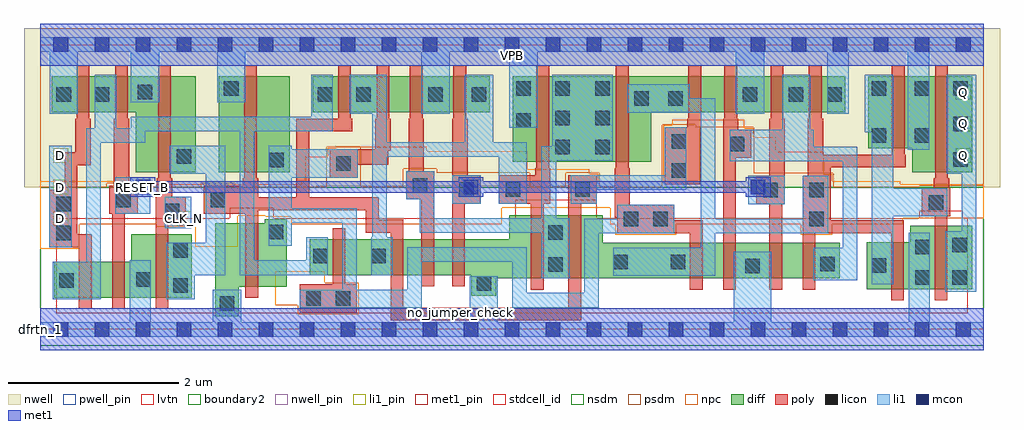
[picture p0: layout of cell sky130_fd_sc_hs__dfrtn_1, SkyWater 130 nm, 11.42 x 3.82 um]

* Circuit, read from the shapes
.subckt sky130_fd_sc_hs__dfrtn_1 CLK_N D Q RESET_B VGND VNB VPB VPWR
XM1 n1 D n2 VNB sky130_fd_pr__nfet_01v8_lvt w=0.42 l=0.15
XM2 VGND RESET_B n1 VNB sky130_fd_pr__nfet_01v8_lvt w=0.42 l=0.15
XM3 n3 CLK_N VGND VNB sky130_fd_pr__nfet_01v8_lvt w=0.74 l=0.15
XM4 n4 n3 VGND VNB sky130_fd_pr__nfet_01v8_lvt w=0.74 l=0.15
XM5 n5 n4 n2 VNB sky130_fd_pr__nfet_01v8_lvt w=0.42 l=0.15
XM6 n6 n3 n5 VNB sky130_fd_pr__nfet_01v8_lvt w=0.42 l=0.15
XM7 n7 n8 n6 VNB sky130_fd_pr__nfet_01v8_lvt w=0.42 l=0.15
XM8 VGND RESET_B n7 VNB sky130_fd_pr__nfet_01v8_lvt w=0.42 l=0.15
XM9 n8 n5 VGND VNB sky130_fd_pr__nfet_01v8_lvt w=0.74 l=0.15
XM10 n9 n3 n8 VNB sky130_fd_pr__nfet_01v8_lvt w=0.74 l=0.15
XM11 n10 n4 n9 VNB sky130_fd_pr__nfet_01v8_lvt w=0.42 l=0.15
XM12 VGND n11 n10 VNB sky130_fd_pr__nfet_01v8_lvt w=0.42 l=0.15
XM13 n12 RESET_B VGND VNB sky130_fd_pr__nfet_01v8_lvt w=0.42 l=0.15
XM14 n11 n9 n12 VNB sky130_fd_pr__nfet_01v8_lvt w=0.42 l=0.15
XM15 VGND n9 n13 VNB sky130_fd_pr__nfet_01v8_lvt w=0.55 l=0.15
XM16 Q n13 VGND VNB sky130_fd_pr__nfet_01v8_lvt w=0.74 l=0.15
XM17 n2 D VPWR VPB sky130_fd_pr__pfet_01v8 w=0.42 l=0.15
XM18 VPWR RESET_B n2 VPB sky130_fd_pr__pfet_01v8 w=0.42 l=0.15
XM19 n3 CLK_N VPWR VPB sky130_fd_pr__pfet_01v8 w=1.12 l=0.15
XM20 n4 n3 VPWR VPB sky130_fd_pr__pfet_01v8 w=1.12 l=0.15
XM21 n5 n3 n2 VPB sky130_fd_pr__pfet_01v8 w=0.42 l=0.15
XM22 n14 n4 n5 VPB sky130_fd_pr__pfet_01v8 w=0.42 l=0.15
XM23 VPWR n8 n14 VPB sky130_fd_pr__pfet_01v8 w=0.42 l=0.15
XM24 n5 RESET_B VPWR VPB sky130_fd_pr__pfet_01v8 w=0.42 l=0.15
XM25 n8 n5 VPWR VPB sky130_fd_pr__pfet_01v8 w=1 l=0.15
XM26 n9 n4 n8 VPB sky130_fd_pr__pfet_01v8 w=1 l=0.15
XM27 n15 n3 n9 VPB sky130_fd_pr__pfet_01v8 w=0.42 l=0.15
XM28 VPWR n11 n15 VPB sky130_fd_pr__pfet_01v8 w=0.42 l=0.15
XM29 n11 RESET_B VPWR VPB sky130_fd_pr__pfet_01v8 w=0.42 l=0.15
XM30 VPWR n9 n11 VPB sky130_fd_pr__pfet_01v8 w=0.42 l=0.15
XM31 VPWR n9 n13 VPB sky130_fd_pr__pfet_01v8 w=0.84 l=0.15
XM32 Q n13 VPWR VPB sky130_fd_pr__pfet_01v8 w=1.12 l=0.15
.ends

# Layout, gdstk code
import gdstk
lib = gdstk.Library(unit=1e-6, precision=1e-09)
def R(c, l, rs):  # rectangles x0, y0, x1, y1
    for r in rs: c.add(gdstk.rectangle(r[:2], r[2:], *l))
def A(c, l, x, y, w, h, nx, ny, dx, dy):  # array of equal rectangles
    R(c, l, [(x+i*dx, y+j*dy, x+i*dx+w, y+j*dy+h) for i in range(nx) for j in range(ny)])
def P(c, l, *ps):  # polygons
    for p in ps: c.add(gdstk.Polygon(p, *l))
nwell_pin = (64, 16)
nwell = (64, 20)
diff = (65, 20)
poly = (66, 20)
licon = (66, 44)
li1_pin = (67, 16)
li1 = (67, 20)
mcon = (67, 44)
met1_pin = (68, 16)
met1 = (68, 20)
stdcell_id = (81, 4)
nsdm = (93, 44)
psdm = (94, 20)
npc = (95, 20)
pwell_pin = (122, 16)
lvtn = (125, 44)
boundary2 = (236, 0)

sky130_fd_sc_hs__dfrtn_1 = lib.new_cell('sky130_fd_sc_hs__dfrtn_1')
R(sky130_fd_sc_hs__dfrtn_1, nwell_pin, [(0,3.085,11.04,3.33)])
P(sky130_fd_sc_hs__dfrtn_1, nwell, [(11.23,3.52),(-0.19,3.52),(-0.19,1.66),(3.225,1.66),(3.225,1.675),(6.92,1.675),(6.92,1.66),(11.23,1.66)])
R(sky130_fd_sc_hs__dfrtn_1, diff, [(2.09,1.84,2.92,2.96), (3.19,2.54,5.26,2.96)])
P(sky130_fd_sc_hs__dfrtn_1, diff, [(1.775,1.11),(1.065,1.11),(1.065,0.79),(0.165,0.79),(0.165,0.37),(1.775,0.37)],
  [(1.82,2.96),(0.135,2.96),(0.135,2.54),(1.115,2.54),(1.115,1.84),(1.82,1.84)],
  [(2.885,1.285),(2.625,1.285),(2.625,1.24),(2.045,1.24),(2.045,0.155),(2.325,0.155),(2.325,0.5),(2.885,0.5)],
  [(9.355,1.015),(6.58,1.015),(6.58,1.335),(5.49,1.335),(5.49,1.055),(3.155,1.055),(3.155,0.635),(5.045,0.635),(5.045,0.39),(5.335,0.39),(5.335,0.595),(9.355,0.595)],
  [(9.42,2.96),(5.53,2.96),(5.53,1.96),(7.15,1.96),(7.15,2.54),(9.42,2.54)],
  [(10.905,2.96),(9.69,2.96),(9.69,2.12),(10.205,2.12),(10.205,1.84),(10.905,1.84)],
  [(10.905,1.21),(10.18,1.21),(10.18,1.02),(9.67,1.02),(9.67,0.47),(10.905,0.47)])
P(sky130_fd_sc_hs__dfrtn_1, poly, [(10.645,1.65),(10.635,1.65),(10.635,1.765),(10.62,1.765),(10.62,3.09),(10.47,3.09),(10.47,1.765),(10.455,1.765),(10.455,1.65),(10.315,1.65),(10.315,1.32),(10.465,1.32),(10.465,0.34),(10.615,0.34),(10.615,1.32),(10.645,1.32)],
  [(10.13,2.045),(10.115,2.045),(10.115,3.09),(9.965,3.09),(9.965,2.045),(9.16,2.045),(9.16,2.465),(9.145,2.465),(9.145,3.09),(8.995,3.09),(8.995,2.465),(8.98,2.465),(8.98,1.795),(8.92,1.795),(8.92,0.465),(9.07,0.465),(9.07,1.125),(9.955,1.125),(9.955,0.34),(10.105,0.34),(10.105,1.275),(9.25,1.275),(9.25,1.895),(10.13,1.895)],
  [(8.71,2.465),(8.695,2.465),(8.695,3.09),(8.545,3.09),(8.545,2.465),(8.53,2.465),(8.53,1.795),(8.38,1.795),(8.38,1.465),(8.53,1.465),(8.53,0.465),(8.68,0.465),(8.68,1.465),(8.71,1.465)],
  [(8.32,2.335),(8.17,2.335),(8.17,2.465),(8.155,2.465),(8.155,3.09),(8.005,3.09),(8.005,2.465),(7.99,2.465),(7.99,0.465),(8.14,0.465),(8.14,2.005),(8.32,2.005)],
  [(7.75,1.275),(7.42,1.275),(7.42,1.455),(6.9,1.455),(6.9,1.885),(6.885,1.885),(6.885,3.09),(6.735,3.09),(6.735,1.885),(6.72,1.885),(6.72,1.305),(6.75,1.305),(6.75,1.125),(7.6,1.125),(7.6,0.465),(7.75,0.465)],
  [(7.735,3.09),(7.585,3.09),(7.585,2.465),(7.57,2.465),(7.57,2.365),(7.31,2.365),(7.31,1.695),(7.72,1.695),(7.72,2.365),(7.735,2.365)],
  [(6.51,1.8),(6.18,1.8),(6.18,0.255),(4.25,0.255),(4.25,1.28),(3.96,1.28),(3.96,1.545),(3.145,1.545),(3.145,2.315),(3.65,2.315),(3.65,2.465),(3.635,2.465),(3.635,3.09),(3.485,3.09),(3.485,2.465),(2.995,2.465),(2.995,1.545),(2.55,1.545),(2.55,1.765),(2.535,1.765),(2.535,3.09),(2.385,3.09),(2.385,1.765),(2.37,1.765),(2.37,1.68),(1.915,1.68),(1.915,1.35),(2.4,1.35),(2.4,0.37),(2.55,0.37),(2.55,1.395),(3.81,1.395),(3.81,1.13),(4.1,1.13),(4.1,0.105),(6.33,0.105),(6.33,1.47),(6.51,1.47)],
  [(5.97,1.885),(5.955,1.885),(5.955,3.09),(5.805,3.09),(5.805,1.885),(5.79,1.885),(5.79,1.8),(5.365,1.8),(5.365,1.47),(5.74,1.47),(5.74,0.465),(5.89,0.465),(5.89,1.47),(5.97,1.47)],
  [(5.15,1.8),(5,1.8),(5,2.465),(4.985,2.465),(4.985,3.09),(4.835,3.09),(4.835,2.465),(4.82,2.465),(4.82,0.505),(4.97,0.505),(4.97,1.47),(5.15,1.47)],
  [(4.61,1.85),(4.49,1.85),(4.49,2.465),(4.475,2.465),(4.475,3.09),(4.325,3.09),(4.325,2.465),(4.31,2.465),(4.31,1.85),(4.28,1.85),(4.28,1.52),(4.46,1.52),(4.46,0.505),(4.61,0.505)],
  [(4.1,2.465),(4.085,2.465),(4.085,3.09),(3.935,3.09),(3.935,2.465),(3.92,2.465),(3.92,2.105),(3.385,2.105),(3.385,1.775),(3.715,1.775),(3.715,1.925),(4.07,1.925),(4.07,2.09),(4.1,2.09)],
  [(3.705,0.525),(3.57,0.525),(3.57,1.185),(3.42,1.185),(3.42,0.525),(3.035,0.525),(3.035,0.195),(3.705,0.195)],
  [(1.705,1.55),(1.545,1.55),(1.545,1.765),(1.53,1.765),(1.53,3.09),(1.38,3.09),(1.38,1.765),(1.365,1.765),(1.365,1.55),(1.35,1.55),(1.35,0.24),(1.5,0.24),(1.5,1.22),(1.705,1.22)],
  [(1.14,1.68),(1.04,1.68),(1.04,2.465),(1.025,2.465),(1.025,3.09),(0.875,3.09),(0.875,2.465),(0.86,2.465),(0.86,1.68),(0.81,1.68),(0.81,1.35),(0.84,1.35),(0.84,0.24),(0.99,0.24),(0.99,1.35),(1.14,1.35)],
  [(0.6,1.11),(0.435,1.11),(0.435,1.92),(0.59,1.92),(0.59,2.465),(0.575,2.465),(0.575,3.09),(0.425,3.09),(0.425,2.465),(0.41,2.465),(0.41,2.07),(0.285,2.07),(0.285,1.63),(0.105,1.63),(0.105,0.96),(0.45,0.96),(0.45,0.24),(0.6,0.24)])
A(sky130_fd_sc_hs__dfrtn_1, licon, 10.685, 1.9, 0.17, 0.17, 1, 3, 0, 0.415)
A(sky130_fd_sc_hs__dfrtn_1, licon, 6.025, 2.05, 0.17, 0.17, 1, 3, 0, 0.34)
A(sky130_fd_sc_hs__dfrtn_1, licon, 6.495, 2.05, 0.17, 0.17, 1, 3, 0, 0.34)
R(sky130_fd_sc_hs__dfrtn_1, licon, [(2.1,0.215,2.27,0.385), (3.115,0.275,3.285,0.445), (3.455,0.275,3.625,0.445), (1.555,0.43,1.725,0.6), (5.105,0.45,5.275,0.62), (0.225,0.485,0.395,0.655), (1.125,0.495,1.295,0.665), (10.24,0.52,10.41,0.69), (10.67,0.52,10.84,0.69), (8.25,0.655,8.42,0.825), (9.73,0.66,9.9,0.83), (5.945,0.675,6.115,0.845), (9.125,0.68,9.295,0.85), (6.705,0.705,6.875,0.875), (7.375,0.705,7.545,0.875), (3.195,0.77,3.365,0.94), (3.875,0.77,4.045,0.94), (1.555,0.84,1.725,1.01), (10.24,0.88,10.41,1.05), (10.67,0.9,10.84,1.07), (0.185,1.04,0.355,1.21), (5.945,1.05,6.115,1.22), (2.675,1.055,2.845,1.225), (6.83,1.205,7,1.375), (7.17,1.205,7.34,1.375), (9,1.205,9.17,1.375), (1.455,1.3,1.625,1.47), (0.185,1.38,0.355,1.55), (10.395,1.4,10.565,1.57), (0.89,1.43,1.06,1.6), (1.995,1.43,2.165,1.6), (8.46,1.545,8.63,1.715), (9,1.545,9.17,1.715), (4.9,1.55,5.07,1.72), (5.445,1.55,5.615,1.72), (6.26,1.55,6.43,1.72), (4.36,1.6,4.53,1.77), (7.39,1.775,7.56,1.945), (3.465,1.855,3.635,2.025), (2.68,1.895,2.85,2.065), (1.595,1.935,1.765,2.105), (8.07,2.085,8.24,2.255), (7.39,2.115,7.56,2.285), (10.23,2.18,10.4,2.35), (9.73,2.185,9.9,2.355), (5.57,2.36,5.74,2.53), (6.95,2.615,7.12,2.785), (7.35,2.615,7.52,2.785), (0.19,2.665,0.36,2.835), (0.64,2.665,0.81,2.835), (3.25,2.665,3.42,2.835), (3.7,2.665,3.87,2.835), (4.54,2.665,4.71,2.835), (5.05,2.665,5.22,2.835), (8.22,2.665,8.39,2.835), (8.76,2.665,8.93,2.835), (9.21,2.665,9.38,2.835), (1.14,2.69,1.31,2.86), (5.57,2.73,5.74,2.9), (9.73,2.73,9.9,2.9), (10.23,2.73,10.4,2.9), (2.15,2.735,2.32,2.905)])
A(sky130_fd_sc_hs__dfrtn_1, li1_pin, 0.155, 1.21, 0.17, 0.17, 1, 3, 0, 0.37)
A(sky130_fd_sc_hs__dfrtn_1, li1_pin, 10.715, 1.95, 0.17, 0.17, 1, 3, 0, 0.37)
R(sky130_fd_sc_hs__dfrtn_1, li1_pin, [(1.595,1.21,1.765,1.38)])
R(sky130_fd_sc_hs__dfrtn_1, li1, [(0.105,0.96,0.37,2.15), (1.455,1.18,1.765,1.55), (0.88,1.35,1.285,1.78), (8.285,1.465,8.71,1.795), (4.82,1.47,5.155,1.8)])
P(sky130_fd_sc_hs__dfrtn_1, li1, [(0,-0.085),(0,0.085),(1.045,0.085),(1.045,0.81),(1.295,0.81),(1.295,0.085),(2.02,0.085),(2.02,0.465),(2.35,0.465),(2.35,0.085),(5.025,0.085),(5.025,0.62),(5.355,0.62),(5.355,0.085),(8.115,0.085),(8.115,0.905),(8.555,0.905),(8.555,0.085),(10.16,0.085),(10.16,1.13),(10.41,1.13),(10.41,0.085),(11.04,0.085),(11.04,-0.085)],
  [(0,3.245),(0,3.415),(11.04,3.415),(11.04,3.245),(10.4,3.245),(10.4,2.1),(10.15,2.1),(10.15,3.245),(9.46,3.245),(9.46,2.52),(9.21,2.52),(9.21,3.245),(8.47,3.245),(8.47,2.52),(8.14,2.52),(8.14,3.245),(5.82,3.245),(5.82,2.36),(5.49,2.36),(5.49,3.245),(4.79,3.245),(4.79,2.52),(4.46,2.52),(4.46,3.245),(2.4,3.245),(2.4,2.655),(2.07,2.655),(2.07,3.245),(1.39,3.245),(1.39,2.655),(1.06,2.655),(1.06,3.245),(0.44,3.245),(0.44,2.52),(0.11,2.52),(0.11,3.245)],
  [(10.605,1.82),(10.605,2.98),(10.955,2.98),(10.955,0.44),(10.59,0.44),(10.59,1.15),(10.785,1.15),(10.785,1.82)],
  [(9.98,1.65),(10.615,1.65),(10.615,1.32),(9.98,1.32),(9.98,0.53),(9.73,0.53),(9.73,2.305),(9.65,2.305),(9.65,2.98),(9.98,2.98)],
  [(4.97,2.19),(4.97,2.98),(5.3,2.98),(5.3,2.19),(5.695,2.19),(5.695,1.47),(5.365,1.47),(5.365,2.02),(4.055,2.02),(4.055,1.075),(4.125,1.075),(4.125,0.635),(3.875,0.635),(3.875,1.075),(3.885,1.075),(3.885,2.52),(3.62,2.52),(3.62,2.98),(4.055,2.98),(4.055,2.19)],
  [(0.64,2.35),(0.64,2.98),(0.89,2.98),(0.89,2.35),(1.06,2.35),(1.06,2.485),(3.17,2.485),(3.17,2.98),(3.42,2.98),(3.42,2.315),(2.505,2.315),(2.505,0.805),(3.115,0.805),(3.115,1.075),(3.365,1.075),(3.365,0.635),(2.335,0.635),(2.335,2.315),(1.23,2.315),(1.23,2.18),(0.71,2.18),(0.71,0.35),(0.145,0.35),(0.145,0.79),(0.54,0.79),(0.54,2.35)],
  [(9.39,0.955),(9.39,1.965),(8.07,1.965),(8.07,2.335),(8.68,2.335),(8.68,2.98),(9.01,2.98),(9.01,2.335),(9.05,2.335),(9.05,2.135),(9.56,2.135),(9.56,0.575),(9.045,0.575),(9.045,0.955)],
  [(2.675,2.145),(2.94,2.145),(2.94,2.105),(3.715,2.105),(3.715,1.775),(2.94,1.775),(2.94,1.415),(3.705,1.415),(3.705,0.465),(4.295,0.465),(4.295,0.96),(5.695,0.96),(5.695,0.425),(6.365,0.425),(6.365,1.295),(6.75,1.295),(6.75,1.455),(7.42,1.455),(7.42,1.125),(6.535,1.125),(6.535,0.255),(5.525,0.255),(5.525,0.79),(4.465,0.79),(4.465,0.255),(3.035,0.255),(3.035,0.465),(3.535,0.465),(3.535,1.245),(2.94,1.245),(2.94,0.975),(2.675,0.975)],
  [(4.44,1.13),(4.44,1.52),(4.28,1.52),(4.28,1.85),(4.61,1.85),(4.61,1.3),(5.865,1.3),(5.865,2.14),(5.99,2.14),(5.99,2.98),(6.7,2.98),(6.7,1.97),(6.035,1.97),(6.035,1.3),(6.195,1.3),(6.195,0.595),(5.865,0.595),(5.865,1.13)],
  [(2.165,2.145),(1.515,2.145),(1.515,1.82),(1.935,1.82),(1.935,1.01),(1.475,1.01),(1.475,0.35),(1.805,0.35),(1.805,0.635),(2.165,0.635)],
  [(6.705,0.625),(6.705,0.955),(7.73,0.955),(7.73,2.535),(6.87,2.535),(6.87,2.865),(7.6,2.865),(7.6,2.705),(7.9,2.705),(7.9,1.295),(8.92,1.295),(8.92,1.795),(9.22,1.795),(9.22,1.125),(7.9,1.125),(7.9,0.625)],
  [(6.205,1.47),(6.205,1.8),(7.31,1.8),(7.31,2.365),(7.56,2.365),(7.56,1.63),(6.51,1.63),(6.51,1.47)])
A(sky130_fd_sc_hs__dfrtn_1, mcon, 0.155, -0.085, 0.17, 0.17, 23, 2, 0.48, 3.33)
R(sky130_fd_sc_hs__dfrtn_1, mcon, [(1.115,1.58,1.285,1.75), (4.955,1.58,5.125,1.75), (8.315,1.58,8.485,1.75)])
R(sky130_fd_sc_hs__dfrtn_1, met1_pin, [(0,0,11.04,0.245), (1.115,1.58,1.285,1.75), (0,3.085,11.04,3.33)])
R(sky130_fd_sc_hs__dfrtn_1, met1, [(0,-0.245,11.04,0.245), (0,3.085,11.04,3.575)])
P(sky130_fd_sc_hs__dfrtn_1, met1, [(1.345,1.735),(4.895,1.735),(4.895,1.78),(5.185,1.78),(5.185,1.735),(8.255,1.735),(8.255,1.78),(8.545,1.78),(8.545,1.55),(8.255,1.55),(8.255,1.595),(5.185,1.595),(5.185,1.55),(4.895,1.55),(4.895,1.595),(1.345,1.595),(1.345,1.55),(1.055,1.55),(1.055,1.78),(1.345,1.78)])
R(sky130_fd_sc_hs__dfrtn_1, stdcell_id, [(0,0,11.04,3.33)])
R(sky130_fd_sc_hs__dfrtn_1, nsdm, [(0,-0.19,11.04,1.66)])
P(sky130_fd_sc_hs__dfrtn_1, psdm, [(11.04,3.52),(0,3.52),(0,1.66),(0.78,1.66),(0.78,1.71),(1.17,1.71),(1.17,1.66),(1.885,1.66),(1.885,1.71),(2.275,1.71),(2.275,1.66),(3.355,1.66),(3.355,2.135),(3.745,2.135),(3.745,1.66),(4.25,1.66),(4.25,1.88),(4.64,1.88),(4.64,1.83),(5.725,1.83),(5.725,1.66),(6.15,1.66),(6.15,1.83),(6.54,1.83),(6.54,1.66),(7.28,1.66),(7.28,2.395),(7.67,2.395),(7.67,2.365),(8.35,2.365),(8.35,1.825),(9.28,1.825),(9.28,1.66),(10.285,1.66),(10.285,1.68),(11.04,1.68)])
P(sky130_fd_sc_hs__dfrtn_1, npc, [(11.04,1.7),(10.065,1.7),(10.065,1.73),(9.27,1.73),(9.27,1.815),(9.165,1.815),(9.165,2.08),(8.605,2.08),(8.605,2.25),(8.34,2.25),(8.34,2.355),(8.235,2.355),(8.235,2.45),(7.395,2.45),(7.395,2.385),(7.29,2.385),(7.29,1.73),(6.53,1.73),(6.53,1.82),(6.425,1.82),(6.425,1.87),(5.7,1.87),(5.7,2.085),(4.525,2.085),(4.525,2.135),(3.47,2.135),(3.47,2.125),(3.365,2.125),(3.365,2.02),(3.1,2.02),(3.1,1.73),(3.06,1.73),(3.06,1.7),(0.975,1.7),(0.975,1.73),(0,1.73),(0,0.94),(0.455,0.94),(0.455,1.23),(1.355,1.23),(1.355,1.2),(1.815,1.2),(1.815,0.965),(2.31,0.965),(2.31,1.33),(2.64,1.33),(2.64,1.315),(2.935,1.315),(2.935,1.23),(5.4,1.23),(5.4,1.425),(6.67,1.425),(6.67,1.23),(6.73,1.23),(6.73,1.105),(7.44,1.105),(7.44,1.23),(8.9,1.23),(8.9,1.105),(9.27,1.105),(9.27,1.23),(10.09,1.23),(10.09,1.3),(11.04,1.3)],
  [(3.725,0.545),(3.33,0.545),(3.33,0.68),(2.75,0.68),(2.75,0.28),(3.015,0.28),(3.015,0.175),(3.725,0.175)])
R(sky130_fd_sc_hs__dfrtn_1, pwell_pin, [(0,0,11.04,0.245)])
P(sky130_fd_sc_hs__dfrtn_1, lvtn, [(10.85,1.3),(10.795,1.3),(10.795,1.39),(10.285,1.39),(10.285,1.3),(6.51,1.3),(6.51,1.515),(5.56,1.515),(5.56,1.3),(2.73,1.3),(2.73,1.42),(2.22,1.42),(2.22,1.3),(0.19,1.3),(0.19,0.19),(10.85,0.19)])
R(sky130_fd_sc_hs__dfrtn_1, boundary2, [(0,0,11.04,3.33)])
sky130_fd_sc_hs__dfrtn_1.add(gdstk.Label('dfrtn_1', (0,0), layer=83, texttype=44))
sky130_fd_sc_hs__dfrtn_1.add(gdstk.Label('no_jumper_check', (4.915,0.195), layer=83, texttype=44))
sky130_fd_sc_hs__dfrtn_1.add(gdstk.Label('VNB', (5.52,0.123), layer=64, texttype=59))
sky130_fd_sc_hs__dfrtn_1.add(gdstk.Label('VPB', (5.52,3.208), layer=64, texttype=5))
sky130_fd_sc_hs__dfrtn_1.add(gdstk.Label('RESET_B', (1.2,1.665), layer=68, texttype=5))
sky130_fd_sc_hs__dfrtn_1.add(gdstk.Label('VPWR', (5.52,3.208), layer=68, texttype=5))
sky130_fd_sc_hs__dfrtn_1.add(gdstk.Label('VGND', (5.52,0.123), layer=68, texttype=5))
sky130_fd_sc_hs__dfrtn_1.add(gdstk.Label('CLK_N', (1.68,1.295), layer=67, texttype=5))
sky130_fd_sc_hs__dfrtn_1.add(gdstk.Label('Q', (10.8,2.035), layer=67, texttype=5))
sky130_fd_sc_hs__dfrtn_1.add(gdstk.Label('Q', (10.8,2.405), layer=67, texttype=5))
sky130_fd_sc_hs__dfrtn_1.add(gdstk.Label('Q', (10.8,2.775), layer=67, texttype=5))
sky130_fd_sc_hs__dfrtn_1.add(gdstk.Label('D', (0.24,1.295), layer=67, texttype=5))
sky130_fd_sc_hs__dfrtn_1.add(gdstk.Label('D', (0.24,1.665), layer=67, texttype=5))
sky130_fd_sc_hs__dfrtn_1.add(gdstk.Label('D', (0.24,2.035), layer=67, texttype=5))

lib.write_gds('sky130_fd_sc_hs__dfrtn_1.gds')
